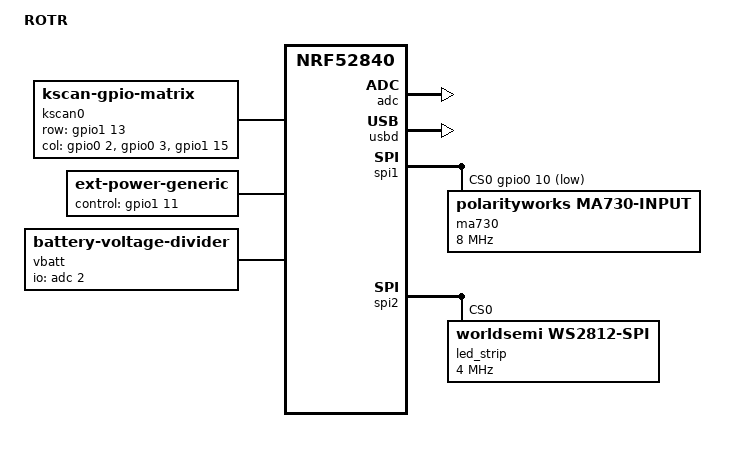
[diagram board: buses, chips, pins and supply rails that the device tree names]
/*
 * Copyright (c) 2026 Carl Henriksson
 * SPDX-License-Identifier: MIT
 */

/dts-v1/;
#include <nordic/nrf52840_qiaa.dtsi>
#include <common/nordic/nrf52840_uf2_boot_mode.dtsi>
#include <dt-bindings/led/led.h>
#include <dt-bindings/zmk/keys.h>
#include <input/processors.dtsi>
#include "rotr-pinctrl.dtsi"
#include "rotr-ma730.h"

/ {
	model = "ROTR";
	compatible = "polarityworks,rotr";

	chosen {
		zephyr,code-partition = &code_partition;
		zephyr,sram = &sram0;
		zephyr,flash = &flash0;
		zephyr,console = &cdc_acm_uart;
		zmk,kscan = &kscan0;
		zmk,underglow = &led_strip;
		zmk,battery = &vbatt;
	};

	kscan0: kscan {
		compatible = "zmk,kscan-gpio-matrix";
		diode-direction = "col2row";
		debounce-press-ms = <5>;
		debounce-release-ms = <5>;

		row-gpios = <&gpio1 13 (GPIO_ACTIVE_HIGH | GPIO_PULL_DOWN)>;
		/* col 0 = right, col 1 = middle, col 2 = left. */
		col-gpios = <&gpio0 2 GPIO_ACTIVE_HIGH>,
		            <&gpio0 3 GPIO_ACTIVE_HIGH>,
		            <&gpio1 15 GPIO_ACTIVE_HIGH>;
	};

	ext-power {
		compatible = "zmk,ext-power-generic";
		control-gpios = <&gpio1 11 GPIO_ACTIVE_HIGH>;
	};

	vbatt: vbatt {
		compatible = "zmk,battery-voltage-divider";
		io-channels = <&adc 2>;
		/* 100 kOhm / 100 kOhm divider. */
		output-ohms = <100000>;
		full-ohms = <(100000 + 100000)>;
	};

	ma730_listener: ma730-listener {
		compatible = "zmk,input-listener";
		device = <&ma730>;
		/*
		 * Scroll smoothness knob. zip_scroll_scaler scales BOTH
		 * INPUT_REL_WHEEL and INPUT_REL_HWHEEL with track-remainders, so
		 * vertical and horizontal share one divisor. The driver emits
		 * ~1024 fine units/rev; <mult divisor> = <1 32> meters that to
		 * ~32 notches/rev (Stage 3 halved it from 16). Tune feel by
		 * changing the 32 (higher = slower). Selector resolution is
		 * separate (select-counts-per-step on the ma730 node).
		 */
		input-processors = <&zip_scroll_scaler 1 32>;
	};
};

&adc { status = "okay"; };
&gpiote { status = "okay"; };
&gpio0 { status = "okay"; };
&gpio1 { status = "okay"; };

zephyr_udc0: &usbd {
	status = "okay";
	cdc_acm_uart: cdc_acm_uart {
		compatible = "zephyr,cdc-acm-uart";
	};
};

&spi1 {
	status = "okay";
	compatible = "nordic,nrf-spim";
	pinctrl-0 = <&spi1_default>;
	pinctrl-1 = <&spi1_sleep>;
	pinctrl-names = "default", "sleep";
	cs-gpios = <&gpio0 10 GPIO_ACTIVE_LOW>;

	ma730: ma730@0 {
		compatible = "polarityworks,ma730-input";
		reg = <0>;
		spi-max-frequency = <DT_FREQ_M(8)>;
		reversal-threshold = <10>;
		/*
		 * Anti-ghosting: ignore tiny per-poll sensor jitter and clear
		 * stale partial movement after a short rest so drift cannot
		 * accumulate into a random key/scroll/selector tick.
		 */
		jitter-threshold = <4>;
		idle-reset-ms = <250>;

		/*
		 * Per-layer knob mode table (MA730_MODE_* from rotr-ma730.h),
		 * indexed by layer. Active layers 0-4, reserved 5-8, selector 9.
		 * To activate a reserved layer: set its mode + keycodes below and
		 * raise select-layer-count -- no C change needed.
		 */
		layer-modes = <
			MA730_MODE_INACTIVE	/* 0 default    */
			MA730_MODE_KEY		/* 1 brightness */
			MA730_MODE_KEY		/* 2 arrows     */
			MA730_MODE_SCROLL_H	/* 3 scroll-h   */
			MA730_MODE_SCROLL_V	/* 4 scroll-v   */
			MA730_MODE_KEY		/* 5 reserved: volume (pre-loaded) */
			MA730_MODE_INACTIVE	/* 6 reserved   */
			MA730_MODE_INACTIVE	/* 7 reserved   */
			MA730_MODE_INACTIVE	/* 8 reserved   */
			MA730_MODE_SELECT	/* 9 selector   */
		>;
		/* Clockwise keycode per KEY layer (0 = none). */
		layer-keycodes-cw = <
			0		/* 0 */
			F13		/* 1 brightness up   */
			RIGHT		/* 2 arrow right     */
			0		/* 3 */
			0		/* 4 */
			C_VOL_UP	/* 5 reserved volume */
			0		/* 6 */
			0		/* 7 */
			0		/* 8 */
			0		/* 9 */
		>;
		/* Counter-clockwise keycode per KEY layer (0 = none). */
		layer-keycodes-ccw = <
			0		/* 0 */
			F14		/* 1 brightness down */
			LEFT		/* 2 arrow left      */
			0		/* 3 */
			0		/* 4 */
			C_VOL_DN	/* 5 reserved volume */
			0		/* 6 */
			0		/* 7 */
			0		/* 8 */
			0		/* 9 */
		>;

		/* Selector cycles layers 0..(count-1); 5 => active 0-4 only. */
		select-layer-count = <5>;
		/* ~8 selector steps/rev, independent of scroll sensitivity. */
		select-counts-per-step = <8192>;

		/* Scroll layers: ~1024 fine units/rev (see binding). */
		scroll-counts-per-unit = <64>;
		/* Keyboard layers: ~24 detents/rev. */
		key-counts-per-detent = <2731>;
		/* Velocity acceleration: gain 6, capped at 4x. 0 gain = off. */
		scroll-accel-gain = <6>;
		scroll-accel-max = <1024>;
		/*
		 * Default directions: CW scrolls DOWN and pans RIGHT. Add
		 * invert-scroll / invert-hscroll here to flip if needed.
		 */
	};
};

&spi2 {
	status = "okay";
	compatible = "nordic,nrf-spim";
	pinctrl-0 = <&spi2_default>;
	pinctrl-1 = <&spi2_sleep>;
	pinctrl-names = "default", "sleep";

	led_strip: ws2812@0 {
		compatible = "worldsemi,ws2812-spi";
		reg = <0>;
		/*
		 * WS2812 timing at 4 MHz SPI clock:
		 *   one-frame  0x70 = 0b01110000 (~0.75 us high)
		 *   zero-frame 0x40 = 0b01000000 (~0.25 us high)
		 * Recalculate both values if the SPI clock frequency changes.
		 */
		spi-max-frequency = <4000000>;
		spi-one-frame = <0x70>;
		spi-zero-frame = <0x40>;
		chain-length = <3>;
		color-mapping = <LED_COLOR_ID_GREEN
		                 LED_COLOR_ID_RED
		                 LED_COLOR_ID_BLUE>;
	};
};

&flash0 {
	partitions {
		compatible = "fixed-partitions";
		#address-cells = <1>;
		#size-cells = <1>;

		/*
		 * Partition layout is fixed by the Adafruit nRF52 UF2
		 * bootloader. Do not modify these regions.
		 */
		sd_partition: partition@0 {
			reg = <0x00000000 0x00026000>;
		};
		code_partition: partition@26000 {
			reg = <0x00026000 0x000c6000>;
		};
		storage_partition: partition@ec000 {
			reg = <0x000ec000 0x00008000>;
		};
		boot_partition: partition@f4000 {
			reg = <0x000f4000 0x0000c000>;
		};
	};
};

&reg1 {
	regulator-initial-mode = <NRF5X_REG_MODE_DCDC>;
};
